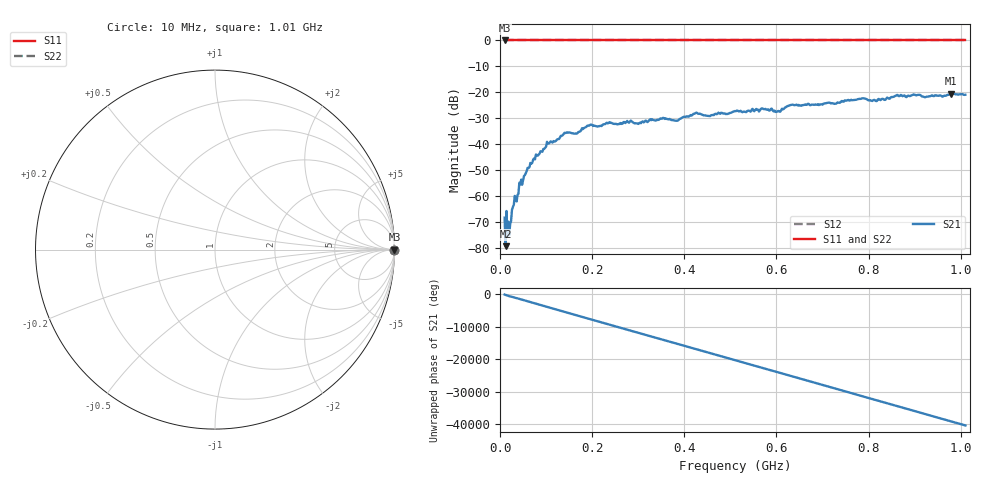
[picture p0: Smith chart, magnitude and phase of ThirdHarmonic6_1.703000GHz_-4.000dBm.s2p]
! 8/16/2025 8:28:08 PM
! C:\ANRITSUVNA\TEMP\TEMP.S2P
! CHANNEL.1
! TR.MEASUREMENT
! RAW.DATA
! RF.CORRECTION.OFF
! AVERAGING.OFF
! IF.BANDWIDTH: 5KHZ
! SWEEPTYPE:  FREQ.SWEEP(Linear)
! Reference Plane Port Info
! PORT:  PORT1  PORT2
! DISTANCE:  0  m  0  m
! TIME:  0  s  0  s
! PHASE.OFFSET:  0  deg.  0  deg.
! LOSS:  0  dB  0  dB
! REF.LOSS:  0  dB  0  dB
! REF.FREQ:  0  Hz  0  Hz
! Power Info
! POWER:  -20  dBm  -20  dBm
! EFF.POWER:  -20  dBm  -20  dBm
! SOURCE.ATTEN:  0  dB  0  dB
! TEST.ATTEN:  0  dB  0  dB
# GHZ S RI R 50.0
! FREQ.GHZ  S11RE  S11IM  S21RE  S21IM  S12RE  S12IM  S22RE  S22IM
!; PortSelection: Port_12
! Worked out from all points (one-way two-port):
!   501 points, 10 MHz to 1.01 GHz, reference 50 ohm
!   highest |S21| = -20.47 dB at 978 MHz (marker M1); lowest = -79.4 dB at 12 MHz (marker M2)
!   lowest |S11| = 0.0 dB at 10 MHz (marker M3)
!   |S11| at or under -10 dB: nowhere
!   |S22| runs from 0.0 to 0.0 dB; largest |S21 - S12| = 1.1
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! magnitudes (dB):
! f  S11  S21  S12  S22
! 10 MHz  0.0  -68.3  0.0  0.0
! 12 MHz  0.0  -79.4  0.0  0.0
! 16 MHz  0.0  -75.8  0.0  0.0
! 18 MHz  0.0  -69.9  0.0  0.0
! 20 MHz  0.0  -75.2  0.0  0.0
! 30 MHz  0.0  -63.4  0.0  0.0
! 42 MHz  0.0  -54.9  0.0  0.0
! 76 MHz  0.0  -45.9  0.0  0.0
! 106 MHz  0.0  -39.7  0.0  0.0
! 178 MHz  0.0  -33.9  0.0  0.0
! 196 MHz  0.0  -32.5  0.0  0.0
! 344 MHz  0.0  -30.6  0.0  0.0
! 382 MHz  0.0  -31.0  0.0  0.0
! 424 MHz  0.0  -28.1  0.0  0.0
! 452 MHz  0.0  -29.1  0.0  0.0
! 510 MHz  0.0  -27.2  0.0  0.0
! 604 MHz  0.0  -27.2  0.0  0.0
! 632 MHz  0.0  -24.9  0.0  0.0
! 678 MHz  0.0  -24.7  0.0  0.0
! 844 MHz  0.0  -22.5  0.0  0.0
! 978 MHz  0.0  -20.5  0.0  0.0
! 1.01 GHz  0.0  -21.0  0.0  0.0
